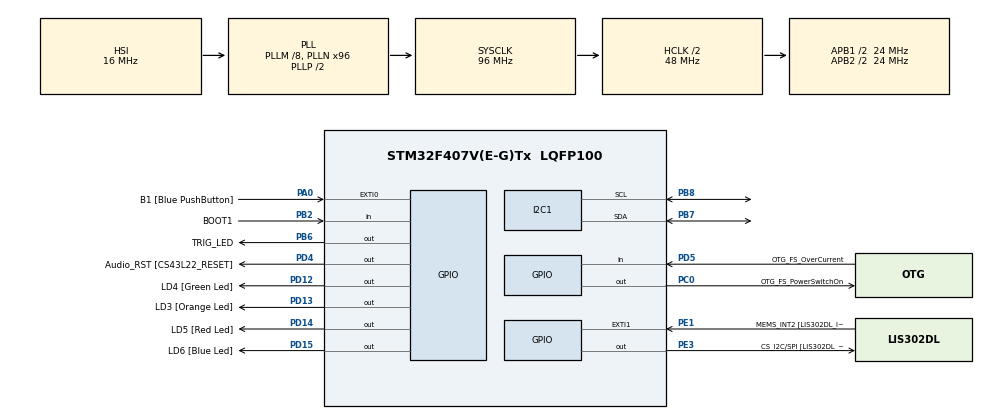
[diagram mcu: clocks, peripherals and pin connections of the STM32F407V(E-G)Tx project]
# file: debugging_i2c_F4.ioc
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Mcu.Family=STM32F4
Mcu.Name=STM32F407V(E-G)Tx
Mcu.Package=LQFP100
NVIC.PriorityGroup=NVIC_PRIORITYGROUP_0
PA0-WKUP.GPIO_Label=B1 [Blue PushButton]
PA0-WKUP.Signal=GPXTI0
PA10.GPIO_Label=OTG_FS_ID
PA10.GPIO_Mode=GPIO_MODE_AF_PP
PA10.GPIO_PuPd=GPIO_NOPULL
PA10.GPIO_Speed=GPIO_SPEED_FREQ_LOW
PA10.Signal=USB_OTG_FS_ID
PA11.GPIO_Label=OTG_FS_DM
PA11.GPIO_Mode=GPIO_MODE_AF_PP
PA11.GPIO_PuPd=GPIO_NOPULL
PA11.GPIO_Speed=GPIO_SPEED_FREQ_LOW
PA11.Signal=USB_OTG_FS_DM
PA12.GPIO_Label=OTG_FS_DP
PA12.GPIO_Mode=GPIO_MODE_AF_PP
PA12.GPIO_PuPd=GPIO_NOPULL
PA12.GPIO_Speed=GPIO_SPEED_FREQ_LOW
PA12.Signal=USB_OTG_FS_DP
PA13.GPIO_Label=SWDIO
PA13.Signal=SYS_JTMS-SWDIO
PA14.GPIO_Label=SWCLK
PA14.Signal=SYS_JTCK-SWCLK
PA4.GPIO_Label=I2S3_WS [CS43L22_LRCK]
PA4.GPIO_Mode=GPIO_MODE_AF_PP
PA4.GPIO_PuPd=GPIO_NOPULL
PA4.GPIO_Speed=GPIO_SPEED_FREQ_LOW
PA4.Signal=I2S3_WS
PA5.GPIO_Label=SPI1_SCK [LIS302DL_SCL/SPC]
PA5.GPIO_Mode=GPIO_MODE_AF_PP
PA5.GPIO_PuPd=GPIO_NOPULL
PA5.GPIO_Speed=GPIO_SPEED_FREQ_LOW
PA5.Signal=SPI1_SCK
PA6.GPIO_Label=SPI1_MISO [LIS302DL_SDO]
PA6.GPIO_Mode=GPIO_MODE_AF_PP
PA6.GPIO_PuPd=GPIO_NOPULL
PA6.GPIO_Speed=GPIO_SPEED_FREQ_LOW
PA6.Signal=SPI1_MISO
PA7.GPIO_Label=SPI1_MOSI [LIS302DL_SDA/SDI/SDO]
PA7.GPIO_Mode=GPIO_MODE_AF_PP
PA7.GPIO_PuPd=GPIO_NOPULL
PA7.GPIO_Speed=GPIO_SPEED_FREQ_LOW
PA7.Signal=SPI1_MOSI
PA9.GPIO_Label=VBUS_FS
PA9.GPIO_Mode=GPIO_MODE_INPUT
PA9.GPIO_PuPd=GPIO_NOPULL
PA9.Signal=USB_OTG_FS_VBUS
PB10.GPIO_Label=CLK_IN [MP45DT02_CLK]
PB10.GPIO_Mode=GPIO_MODE_AF_PP
PB10.GPIO_PuPd=GPIO_NOPULL
PB10.GPIO_Speed=GPIO_SPEED_FREQ_LOW
PB10.Signal=I2S2_CK
PB2.GPIO_Label=BOOT1
PB2.GPIO_Mode=GPIO_MODE_INPUT
PB2.GPIO_PuPd=GPIO_NOPULL
PB2.Signal=GPIO_Input
PB3.GPIO_Label=SWO
PB3.Signal=SYS_JTDO-SWO
PB6.GPIO_Label=TRIG_LED
PB6.Signal=GPIO_Output
PB7.Mode=I2C
PB7.Signal=I2C1_SDA
PB8.Mode=I2C
PB8.Signal=I2C1_SCL
PC0.GPIO_Label=OTG_FS_PowerSwitchOn
PC0.GPIO_PuPd=GPIO_NOPULL
PC0.GPIO_Speed=GPIO_SPEED_FREQ_LOW
PC0.PinState=GPIO_PIN_SET
PC0.Signal=GPIO_Output
PC10.GPIO_Label=I2S3_SCK [CS43L22_SCLK]
PC10.GPIO_Mode=GPIO_MODE_AF_PP
PC10.GPIO_PuPd=GPIO_NOPULL
PC10.GPIO_Speed=GPIO_SPEED_FREQ_LOW
PC10.Signal=I2S3_CK
PC12.GPIO_Label=I2S3_SD [CS43L22_SDIN]
PC12.GPIO_Mode=GPIO_MODE_AF_PP
PC12.GPIO_PuPd=GPIO_NOPULL
PC12.GPIO_Speed=GPIO_SPEED_FREQ_LOW
PC12.Signal=I2S3_SD
PC14-OSC32_IN.GPIO_Label=PC14-OSC32_IN
PC14-OSC32_IN.Signal=RCC_OSC32_IN
PC15-OSC32_OUT.GPIO_Label=PC15-OSC32_OUT
PC15-OSC32_OUT.Signal=RCC_OSC32_OUT
PC3.GPIO_Label=PDM_OUT [MP45DT02_DOUT]
PC3.GPIO_Mode=GPIO_MODE_AF_PP
PC3.GPIO_PuPd=GPIO_NOPULL
PC3.GPIO_Speed=GPIO_SPEED_FREQ_LOW
PC3.Signal=I2S2_SD
PC7.GPIO_Label=I2S3_MCK [CS43L22_MCLK]
PC7.GPIO_Mode=GPIO_MODE_AF_PP
PC7.GPIO_PuPd=GPIO_NOPULL
PC7.GPIO_Speed=GPIO_SPEED_FREQ_LOW
PC7.Signal=I2S3_MCK
PD12.GPIO_Label=LD4 [Green Led]
PD12.GPIO_PuPd=GPIO_NOPULL
PD12.GPIO_Speed=GPIO_SPEED_FREQ_LOW
PD12.Signal=GPIO_Output
PD13.GPIO_Label=LD3 [Orange Led]
PD13.GPIO_PuPd=GPIO_NOPULL
PD13.GPIO_Speed=GPIO_SPEED_FREQ_LOW
PD13.Signal=GPIO_Output
PD14.GPIO_Label=LD5 [Red Led]
PD14.GPIO_PuPd=GPIO_NOPULL
PD14.GPIO_Speed=GPIO_SPEED_FREQ_LOW
PD14.Signal=GPIO_Output
PD15.GPIO_Label=LD6 [Blue Led]
PD15.GPIO_PuPd=GPIO_NOPULL
PD15.GPIO_Speed=GPIO_SPEED_FREQ_LOW
PD15.Signal=GPIO_Output
PD4.GPIO_Label=Audio_RST [CS43L22_RESET]
PD4.GPIO_PuPd=GPIO_NOPULL
PD4.GPIO_Speed=GPIO_SPEED_FREQ_LOW
PD4.Signal=GPIO_Output
PD5.GPIO_Label=OTG_FS_OverCurrent
PD5.GPIO_Mode=GPIO_MODE_INPUT
PD5.GPIO_PuPd=GPIO_NOPULL
PD5.Signal=GPIO_Input
PE1.GPIO_Label=MEMS_INT2 [LIS302DL_INT2]
PE1.GPIO_ModeDefaultEXTI=GPIO_MODE_EVT_RISING
PE1.GPIO_PuPd=GPIO_NOPULL
PE1.Signal=GPXTI1
PE3.GPIO_Label=CS_I2C/SPI [LIS302DL_CS_I2C/SPI]
PE3.GPIO_PuPd=GPIO_NOPULL
PE3.GPIO_Speed=GPIO_SPEED_FREQ_LOW
PE3.Signal=GPIO_Output
PH0-OSC_IN.GPIO_Label=PH0-OSC_IN
PH0-OSC_IN.Signal=RCC_OSC_IN
PH1-OSC_OUT.GPIO_Label=PH1-OSC_OUT
PH1-OSC_OUT.Signal=RCC_OSC_OUT
ProjectManager.HeapSize=0x200
ProjectManager.StackSize=0x400
ProjectManager.TargetToolchain=STM32CubeIDE
RCC.48MHZClocksFreq_Value=27428571.42857143
RCC.AHBCLKDivider=RCC_SYSCLK_DIV2
RCC.AHBFreq_Value=48000000
RCC.APB1CLKDivider=RCC_HCLK_DIV2
RCC.APB1Freq_Value=24000000
RCC.APB1TimFreq_Value=48000000
RCC.APB2CLKDivider=RCC_HCLK_DIV2
RCC.APB2Freq_Value=24000000
RCC.APB2TimFreq_Value=48000000
RCC.CortexFreq_Value=48000000
RCC.HCLKFreq_Value=48000000
RCC.HSE_VALUE=8000000
RCC.HSI_VALUE=16000000
RCC.LSE_VALUE=32768
RCC.PLLM=8
RCC.PLLN=96
RCC.PLLQ=7
RCC.SYSCLKFreq_VALUE=96000000
RCC.SYSCLKSource=RCC_SYSCLKSOURCE_PLLCLK
RCC.VCOOutputFreq_Value=192000000
board=STM32F407G-DISC1

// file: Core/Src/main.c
/* USER CODE BEGIN Header */
/**
  ******************************************************************************
  * @file           : main.c
  * @brief          : Main program body
  ******************************************************************************
  * @attention
  *
  * Copyright (c) 2022 STMicroelectronics.
  * All rights reserved.
  *
  * This software is licensed under terms that can be found in the LICENSE file
  * in the root directory of this software component.
  * If no LICENSE file comes with this software, it is provided AS-IS.
  *
  ******************************************************************************
  */
/* USER CODE END Header */
#include "main.h"

/* USER CODE BEGIN Includes */
#include "lis3dh_driver.h"
/* USER CODE END Includes */

 I2C_HandleTypeDef hi2c1;

void SystemClock_Config(void);
static void MX_GPIO_Init(void);
static void MX_I2C1_Init(void);

int main(void)
{

  /* MCU Configuration--------------------------------------------------------*/

  /* Reset of all peripherals, Initializes the Flash interface and the Systick. */
  HAL_Init();

  /* Configure the system clock */
  SystemClock_Config();

  /* Initialize all configured peripherals */
  MX_GPIO_Init();
  MX_I2C1_Init();
  /* USER CODE BEGIN 2 */

  if(HAL_I2C_Init(&hi2c1) != HAL_OK)
	{
		/* Initialization Error */
		Error_Handler();
	}

  //HAL_I2C_MspInit(&hi2c1);
  /* USER CODE END 2 */

  /* Infinite loop */
  /* USER CODE BEGIN WHILE */
  while (1)
  {

  	HAL_GPIO_WritePin(TRIG_LED_GPIO_Port, TRIG_LED_Pin, GPIO_PIN_SET);
  	//Lis3dhInit(&hi2c1);

  	HAL_StatusTypeDef ret;
		uint8_t buf[12];

		buf[0] = 0x8F;

		//ret = HAL_I2C_Mem_Read(&hi2c1, 0x18<<1, 0x8F, I2C_MEMADD_SIZE_8BIT, buf, 1, HAL_MAX_DELAY);

		uint16_t buff_size = sizeof(buf) / sizeof(*(buf));

		//while(HAL_I2C_Master_Transmit(&hi2c1, (uint16_t)(0x18<<1), (uint8_t*)buf, buff_size, 1000)!= HAL_OK)
		//{
			/* Error_Handler() function is called when Timeout error occurs.
				 When Acknowledge failure occurs (Slave don't acknowledge its address)
				 Master restarts communication */
//			if (HAL_I2C_GetError(&hi2c1) != HAL_I2C_ERROR_AF)
//			{
//				Error_Handler();
//			}
		//}

		ret = HAL_I2C_Master_Transmit(&hi2c1, 0x18<<1, buf, buff_size, HAL_MAX_DELAY);
		if(ret != HAL_OK) {
			//printf("error");
		} else {

			ret = HAL_I2C_Master_Receive(&hi2c1, 0x18<<1, buf, 2, HAL_MAX_DELAY);
			if(ret != HAL_OK) {
				//printf("error");
			} else {
				//printf(buf[0]);
				//printf(buf[1]);
			}

		}

		HAL_Delay(100);
		HAL_GPIO_WritePin(TRIG_LED_GPIO_Port, TRIG_LED_Pin, GPIO_PIN_RESET);

  	HAL_Delay(1000);

    /* USER CODE END WHILE */

  }
}

void SystemClock_Config(void)
{
  RCC_OscInitTypeDef RCC_OscInitStruct = {0};
  RCC_ClkInitTypeDef RCC_ClkInitStruct = {0};

  /** Configure the main internal regulator output voltage
  */
  __HAL_RCC_PWR_CLK_ENABLE();
  __HAL_PWR_VOLTAGESCALING_CONFIG(PWR_REGULATOR_VOLTAGE_SCALE1);

  /** Initializes the RCC Oscillators according to the specified parameters
  * in the RCC_OscInitTypeDef structure.
  */
  RCC_OscInitStruct.OscillatorType = RCC_OSCILLATORTYPE_HSI;
  RCC_OscInitStruct.HSIState = RCC_HSI_ON;
  RCC_OscInitStruct.HSICalibrationValue = RCC_HSICALIBRATION_DEFAULT;
  RCC_OscInitStruct.PLL.PLLState = RCC_PLL_ON;
  RCC_OscInitStruct.PLL.PLLSource = RCC_PLLSOURCE_HSI;
  RCC_OscInitStruct.PLL.PLLM = 8;
  RCC_OscInitStruct.PLL.PLLN = 96;
  RCC_OscInitStruct.PLL.PLLP = RCC_PLLP_DIV2;
  RCC_OscInitStruct.PLL.PLLQ = 7;
  if (HAL_RCC_OscConfig(&RCC_OscInitStruct) != HAL_OK)
  {
    Error_Handler();
  }

  /** Initializes the CPU, AHB and APB buses clocks
  */
  RCC_ClkInitStruct.ClockType = RCC_CLOCKTYPE_HCLK|RCC_CLOCKTYPE_SYSCLK
                              |RCC_CLOCKTYPE_PCLK1|RCC_CLOCKTYPE_PCLK2;
  RCC_ClkInitStruct.SYSCLKSource = RCC_SYSCLKSOURCE_PLLCLK;
  RCC_ClkInitStruct.AHBCLKDivider = RCC_SYSCLK_DIV2;
  RCC_ClkInitStruct.APB1CLKDivider = RCC_HCLK_DIV2;
  RCC_ClkInitStruct.APB2CLKDivider = RCC_HCLK_DIV2;

  if (HAL_RCC_ClockConfig(&RCC_ClkInitStruct, FLASH_LATENCY_1) != HAL_OK)
  {
    Error_Handler();
  }
}

static void MX_I2C1_Init(void)
{

  hi2c1.Instance = I2C1;
  hi2c1.Init.ClockSpeed = 100000;
  hi2c1.Init.DutyCycle = I2C_DUTYCYCLE_2;
  hi2c1.Init.OwnAddress1 = 0;
  hi2c1.Init.AddressingMode = I2C_ADDRESSINGMODE_7BIT;
  hi2c1.Init.DualAddressMode = I2C_DUALADDRESS_DISABLE;
  hi2c1.Init.OwnAddress2 = 0;
  hi2c1.Init.GeneralCallMode = I2C_GENERALCALL_DISABLE;
  hi2c1.Init.NoStretchMode = I2C_NOSTRETCH_DISABLE;
  if (HAL_I2C_Init(&hi2c1) != HAL_OK)
  {
    Error_Handler();
  }

}

static void MX_GPIO_Init(void)
{
  GPIO_InitTypeDef GPIO_InitStruct = {0};

  /* GPIO Ports Clock Enable */
  __HAL_RCC_GPIOE_CLK_ENABLE();
  __HAL_RCC_GPIOC_CLK_ENABLE();
  __HAL_RCC_GPIOH_CLK_ENABLE();
  __HAL_RCC_GPIOA_CLK_ENABLE();
  __HAL_RCC_GPIOB_CLK_ENABLE();
  __HAL_RCC_GPIOD_CLK_ENABLE();

  /*Configure GPIO pin Output Level */
  HAL_GPIO_WritePin(CS_I2C_SPI_GPIO_Port, CS_I2C_SPI_Pin, GPIO_PIN_RESET);

  /*Configure GPIO pin Output Level */
  HAL_GPIO_WritePin(OTG_FS_PowerSwitchOn_GPIO_Port, OTG_FS_PowerSwitchOn_Pin, GPIO_PIN_SET);

  /*Configure GPIO pin Output Level */
  HAL_GPIO_WritePin(GPIOD, LD4_Pin|LD3_Pin|LD5_Pin|LD6_Pin
                          |Audio_RST_Pin, GPIO_PIN_RESET);

  /*Configure GPIO pin Output Level */
  HAL_GPIO_WritePin(TRIG_LED_GPIO_Port, TRIG_LED_Pin, GPIO_PIN_RESET);

  /*Configure GPIO pin : CS_I2C_SPI_Pin */
  GPIO_InitStruct.Pin = CS_I2C_SPI_Pin;
  GPIO_InitStruct.Mode = GPIO_MODE_OUTPUT_PP;
  GPIO_InitStruct.Pull = GPIO_NOPULL;
  GPIO_InitStruct.Speed = GPIO_SPEED_FREQ_LOW;
  HAL_GPIO_Init(CS_I2C_SPI_GPIO_Port, &GPIO_InitStruct);

  /*Configure GPIO pin : OTG_FS_PowerSwitchOn_Pin */
  GPIO_InitStruct.Pin = OTG_FS_PowerSwitchOn_Pin;
  GPIO_InitStruct.Mode = GPIO_MODE_OUTPUT_PP;
  GPIO_InitStruct.Pull = GPIO_NOPULL;
  GPIO_InitStruct.Speed = GPIO_SPEED_FREQ_LOW;
  HAL_GPIO_Init(OTG_FS_PowerSwitchOn_GPIO_Port, &GPIO_InitStruct);

  /*Configure GPIO pin : PDM_OUT_Pin */
  GPIO_InitStruct.Pin = PDM_OUT_Pin;
  GPIO_InitStruct.Mode = GPIO_MODE_AF_PP;
  GPIO_InitStruct.Pull = GPIO_NOPULL;
  GPIO_InitStruct.Speed = GPIO_SPEED_FREQ_LOW;
  GPIO_InitStruct.Alternate = GPIO_AF5_SPI2;
  HAL_GPIO_Init(PDM_OUT_GPIO_Port, &GPIO_InitStruct);

  /*Configure GPIO pin : B1_Pin */
  GPIO_InitStruct.Pin = B1_Pin;
  GPIO_InitStruct.Mode = GPIO_MODE_IT_RISING;
  GPIO_InitStruct.Pull = GPIO_NOPULL;
  HAL_GPIO_Init(B1_GPIO_Port, &GPIO_InitStruct);

  /*Configure GPIO pin : I2S3_WS_Pin */
  GPIO_InitStruct.Pin = I2S3_WS_Pin;
  GPIO_InitStruct.Mode = GPIO_MODE_AF_PP;
  GPIO_InitStruct.Pull = GPIO_NOPULL;
  GPIO_InitStruct.Speed = GPIO_SPEED_FREQ_LOW;
  GPIO_InitStruct.Alternate = GPIO_AF6_SPI3;
  HAL_GPIO_Init(I2S3_WS_GPIO_Port, &GPIO_InitStruct);

  /*Configure GPIO pins : SPI1_SCK_Pin SPI1_MISO_Pin SPI1_MOSI_Pin */
  GPIO_InitStruct.Pin = SPI1_SCK_Pin|SPI1_MISO_Pin|SPI1_MOSI_Pin;
  GPIO_InitStruct.Mode = GPIO_MODE_AF_PP;
  GPIO_InitStruct.Pull = GPIO_NOPULL;
  GPIO_InitStruct.Speed = GPIO_SPEED_FREQ_LOW;
  GPIO_InitStruct.Alternate = GPIO_AF5_SPI1;
  HAL_GPIO_Init(GPIOA, &GPIO_InitStruct);

  /*Configure GPIO pin : BOOT1_Pin */
  GPIO_InitStruct.Pin = BOOT1_Pin;
  GPIO_InitStruct.Mode = GPIO_MODE_INPUT;
  GPIO_InitStruct.Pull = GPIO_NOPULL;
  HAL_GPIO_Init(BOOT1_GPIO_Port, &GPIO_InitStruct);

  /*Configure GPIO pin : CLK_IN_Pin */
  GPIO_InitStruct.Pin = CLK_IN_Pin;
  GPIO_InitStruct.Mode = GPIO_MODE_AF_PP;
  GPIO_InitStruct.Pull = GPIO_NOPULL;
  GPIO_InitStruct.Speed = GPIO_SPEED_FREQ_LOW;
  GPIO_InitStruct.Alternate = GPIO_AF5_SPI2;
  HAL_GPIO_Init(CLK_IN_GPIO_Port, &GPIO_InitStruct);

  /*Configure GPIO pins : LD4_Pin LD3_Pin LD5_Pin LD6_Pin
                           Audio_RST_Pin */
  GPIO_InitStruct.Pin = LD4_Pin|LD3_Pin|LD5_Pin|LD6_Pin
                          |Audio_RST_Pin;
  GPIO_InitStruct.Mode = GPIO_MODE_OUTPUT_PP;
  GPIO_InitStruct.Pull = GPIO_NOPULL;
  GPIO_InitStruct.Speed = GPIO_SPEED_FREQ_LOW;
  HAL_GPIO_Init(GPIOD, &GPIO_InitStruct);

  /*Configure GPIO pins : I2S3_MCK_Pin I2S3_SCK_Pin I2S3_SD_Pin */
  GPIO_InitStruct.Pin = I2S3_MCK_Pin|I2S3_SCK_Pin|I2S3_SD_Pin;
  GPIO_InitStruct.Mode = GPIO_MODE_AF_PP;
  GPIO_InitStruct.Pull = GPIO_NOPULL;
  GPIO_InitStruct.Speed = GPIO_SPEED_FREQ_LOW;
  GPIO_InitStruct.Alternate = GPIO_AF6_SPI3;
  HAL_GPIO_Init(GPIOC, &GPIO_InitStruct);

  /*Configure GPIO pin : VBUS_FS_Pin */
  GPIO_InitStruct.Pin = VBUS_FS_Pin;
  GPIO_InitStruct.Mode = GPIO_MODE_INPUT;
  GPIO_InitStruct.Pull = GPIO_NOPULL;
  HAL_GPIO_Init(VBUS_FS_GPIO_Port, &GPIO_InitStruct);

  /*Configure GPIO pins : OTG_FS_ID_Pin OTG_FS_DM_Pin OTG_FS_DP_Pin */
  GPIO_InitStruct.Pin = OTG_FS_ID_Pin|OTG_FS_DM_Pin|OTG_FS_DP_Pin;
  GPIO_InitStruct.Mode = GPIO_MODE_AF_PP;
  GPIO_InitStruct.Pull = GPIO_NOPULL;
  GPIO_InitStruct.Speed = GPIO_SPEED_FREQ_LOW;
  GPIO_InitStruct.Alternate = GPIO_AF10_OTG_FS;
  HAL_GPIO_Init(GPIOA, &GPIO_InitStruct);

  /*Configure GPIO pin : OTG_FS_OverCurrent_Pin */
  GPIO_InitStruct.Pin = OTG_FS_OverCurrent_Pin;
  GPIO_InitStruct.Mode = GPIO_MODE_INPUT;
  GPIO_InitStruct.Pull = GPIO_NOPULL;
  HAL_GPIO_Init(OTG_FS_OverCurrent_GPIO_Port, &GPIO_InitStruct);

  /*Configure GPIO pin : TRIG_LED_Pin */
  GPIO_InitStruct.Pin = TRIG_LED_Pin;
  GPIO_InitStruct.Mode = GPIO_MODE_OUTPUT_PP;
  GPIO_InitStruct.Pull = GPIO_NOPULL;
  GPIO_InitStruct.Speed = GPIO_SPEED_FREQ_LOW;
  HAL_GPIO_Init(TRIG_LED_GPIO_Port, &GPIO_InitStruct);

  /*Configure GPIO pin : MEMS_INT2_Pin */
  GPIO_InitStruct.Pin = MEMS_INT2_Pin;
  GPIO_InitStruct.Mode = GPIO_MODE_EVT_RISING;
  GPIO_InitStruct.Pull = GPIO_NOPULL;
  HAL_GPIO_Init(MEMS_INT2_GPIO_Port, &GPIO_InitStruct);

}

void Error_Handler(void)
{
  __disable_irq();
  while (1)
  {
  }
}
